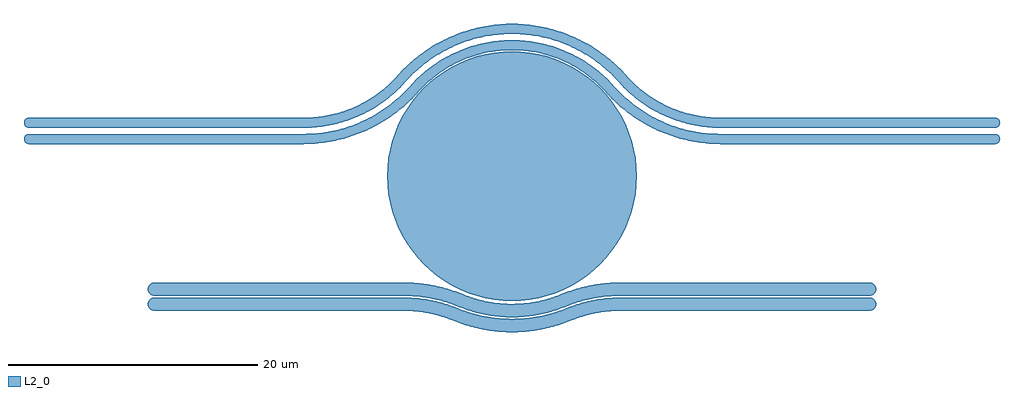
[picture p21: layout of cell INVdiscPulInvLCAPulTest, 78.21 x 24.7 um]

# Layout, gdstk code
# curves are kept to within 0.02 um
import gdstk
lib = gdstk.Library(unit=1e-6, precision=1e-09)
def P(c, l, *ps):  # polygons
    for p in ps: c.add(gdstk.Polygon(p, *l))
L2_0 = (2, 0)

invdiscpulinvlcapultest = lib.new_cell('INVdiscPulInvLCAPulTest')
P(invdiscpulinvlcapultest, L2_0, [(10,10),(9.287,10.025),(8.577,10.102),(7.874,10.229),(7.183,10.405),(6.505,10.631),(5.846,10.904),(5.208,11.223),(4.594,11.587),(4.007,11.995),(3.451,12.443),(2.929,12.929),(2.443,13.451),(1.995,14.007),(1.587,14.594),(1.223,15.208),(0.904,15.846),(0.631,16.505),(0.405,17.183),(0.229,17.874),(0.102,18.577),(0.025,19.287),(0,20),(0.025,20.713),(0.102,21.423),(0.229,22.126),(0.405,22.817),(0.631,23.495),(0.904,24.154),(1.223,24.792),(1.587,25.406),(1.995,25.993),(2.443,26.549),(2.929,27.071),(3.451,27.557),(4.007,28.005),(4.594,28.413),(5.208,28.777),(5.846,29.096),(6.505,29.369),(7.183,29.595),(7.874,29.771),(8.577,29.898),(9.287,29.975),(10,30),(10.713,29.975),(11.423,29.898),(12.126,29.771),(12.817,29.595),(13.495,29.369),(14.154,29.096),(14.792,28.777),(15.406,28.413),(15.993,28.005),(16.549,27.557),(17.071,27.071),(17.557,26.549),(18.005,25.993),(18.413,25.406),(18.777,24.792),(19.096,24.154),(19.369,23.495),(19.595,22.817),(19.771,22.126),(19.898,21.423),(19.975,20.713),(20,20),(19.975,19.287),(19.898,18.577),(19.771,17.874),(19.595,17.183),(19.369,16.505),(19.096,15.846),(18.777,15.208),(18.413,14.594),(18.005,14.007),(17.557,13.451),(17.071,12.929),(16.549,12.443),(15.993,11.995),(15.406,11.587),(14.792,11.223),(14.154,10.904),(13.495,10.631),(12.817,10.405),(12.126,10.229),(11.423,10.102),(10.713,10.025)],
  [(-28.704,22.574),(-28.704,23.374),(-6.485,23.376),(-5.391,23.45),(-4.309,23.628),(-3.249,23.91),(-2.222,24.292),(-1.236,24.771),(-0.483,25.221),(0.233,25.728),(0.908,26.288),(1.385,26.741),(2.415,27.828),(3.039,28.388),(3.877,29.018),(4.957,29.663),(6.103,30.18),(7.302,30.561),(8.536,30.801),(9.79,30.898),(11.047,30.85),(11.878,30.737),(12.495,30.611),(13.7,30.253),(14.857,29.758),(15.772,29.247),(16.798,28.52),(17.585,27.828),(18.615,26.741),(19.092,26.288),(19.767,25.728),(20.483,25.221),(21.429,24.668),(22.424,24.208),(23.459,23.845),(24.524,23.584),(25.609,23.427),(26.704,23.374),(48.704,23.374),(48.704,22.574),(26.704,22.574),(25.532,22.63),(24.602,22.756),(23.457,23.014),(22.342,23.38),(21.268,23.852),(20.244,24.425),(19.467,24.952),(18.557,25.692),(18.047,26.178),(17.029,27.253),(16.299,27.895),(15.348,28.568),(14.5,29.042),(13.429,29.5),(12.688,29.736),(12.122,29.875),(10.97,30.053),(9.806,30.098),(8.644,30.009),(7.5,29.786),(6.389,29.433),(5.327,28.954),(4.488,28.463),(3.701,27.895),(2.971,27.253),(1.953,26.178),(1.443,25.692),(0.533,24.952),(-0.244,24.425),(-1.268,23.852),(-2.342,23.38),(-3.457,23.014),(-4.371,22.799),(-5.532,22.63),(-6.469,22.576)],
  [(-28.704,23.874),(-28.704,24.674),(-6.704,24.674),(-5.54,24.741),(-4.582,24.899),(-3.643,25.149),(-2.733,25.487),(-2.031,25.82),(-1.192,26.31),(-0.558,26.759),(0.04,27.256),(0.463,27.657),(1.51,28.761),(2.391,29.536),(3.342,30.223),(3.943,30.59),(4.564,30.922),(5.858,31.476),(7.208,31.876),(8.362,32.09),(9.062,32.164),(9.765,32.198),(10.469,32.191),(11.172,32.144),(11.871,32.056),(12.563,31.928),(13.247,31.76),(14.142,31.476),(15.436,30.922),(16.057,30.59),(16.658,30.223),(17.609,29.536),(18.49,28.761),(19.537,27.657),(19.96,27.256),(20.558,26.759),(21.192,26.31),(22.031,25.82),(22.912,25.413),(23.829,25.092),(24.773,24.86),(25.734,24.721),(26.704,24.674),(48.704,24.674),(48.704,23.874),(26.704,23.874),(25.657,23.924),(24.826,24.037),(23.803,24.267),(22.807,24.594),(21.847,25.016),(20.932,25.527),(20.071,26.124),(19.425,26.66),(18.969,27.094),(17.933,28.187),(17.11,28.911),(16.036,29.671),(15.079,30.206),(14.482,30.482),(13.663,30.796),(12.395,31.146),(11.095,31.347),(9.781,31.398),(8.469,31.297),(7.178,31.045),(5.924,30.647),(4.921,30.206),(3.964,29.671),(2.89,28.911),(2.067,28.187),(1.031,27.094),(0.575,26.66),(-0.071,26.124),(-0.756,25.64),(-1.66,25.111),(-2.612,24.671),(-3.601,24.325),(-4.62,24.075),(-5.657,23.924),(-6.704,23.874)],
  [(48.704,22.574),(48.704,23.374),(48.86,23.342),(48.987,23.257),(49.073,23.13),(49.104,22.974),(49.073,22.818),(48.987,22.691),(48.86,22.605)],
  [(-28.704,22.574),(-28.86,22.605),(-28.987,22.691),(-29.073,22.818),(-29.104,22.974),(-29.073,23.13),(-28.987,23.257),(-28.86,23.342),(-28.704,23.374)],
  [(48.704,23.874),(48.704,24.674),(48.86,24.642),(48.987,24.557),(49.073,24.43),(49.104,24.274),(49.073,24.118),(48.987,23.991),(48.86,23.905)],
  [(-28.704,23.874),(-28.86,23.905),(-28.987,23.991),(-29.073,24.118),(-29.104,24.274),(-29.073,24.43),(-28.987,24.557),(-28.86,24.642),(-28.704,24.674)],
  [(10,7.5),(8.782,7.559),(8.012,7.659),(7.359,7.782),(6.287,8.064),(4.648,8.664),(3.952,8.874),(3.063,9.066),(2.161,9.179),(1.435,9.211),(-18.656,9.211),(-18.861,9.252),(-19.061,9.402),(-19.158,9.58),(-19.179,9.79),(-19.118,9.986),(-18.99,10.141),(-18.812,10.238),(-18.656,10.261),(1.845,10.25),(2.942,10.148),(4.025,9.939),(4.987,9.658),(6.502,9.097),(7.78,8.767),(8.884,8.604),(10.102,8.55),(11.318,8.626),(12.519,8.83),(13.498,9.097),(15.013,9.658),(15.975,9.939),(17.058,10.148),(18.055,10.245),(38.71,10.258),(38.906,10.198),(39.061,10.07),(39.158,9.892),(39.181,9.736),(39.158,9.58),(39.061,9.402),(38.906,9.275),(38.71,9.214),(18.111,9.197),(17.116,9.095),(16.136,8.897),(15.352,8.664),(13.713,8.064),(12.533,7.759),(11.218,7.559)],
  [(10,8.7),(8.799,8.764),(7.612,8.955),(6.548,9.24),(5.035,9.8),(4.159,10.06),(3.164,10.266),(2.257,10.375),(1.445,10.411),(-18.656,10.411),(-18.861,10.452),(-19.061,10.602),(-19.158,10.78),(-19.179,10.99),(-19.118,11.186),(-18.99,11.341),(-18.812,11.438),(-18.656,11.461),(1.898,11.449),(3.222,11.319),(4.417,11.078),(5.373,10.794),(6.868,10.24),(7.834,9.981),(8.911,9.808),(10.091,9.75),(11.179,9.818),(12.166,9.981),(13.132,10.24),(14.627,10.794),(15.583,11.078),(16.669,11.302),(17.88,11.437),(18.545,11.461),(38.71,11.458),(38.906,11.398),(39.061,11.27),(39.158,11.092),(39.181,10.936),(39.158,10.78),(39.061,10.602),(38.906,10.475),(38.71,10.414),(18.555,10.411),(17.946,10.389),(16.836,10.266),(15.841,10.06),(14.965,9.8),(13.452,9.24),(12.29,8.934),(11.201,8.764)])

lib.write_gds('INVdiscPulInvLCAPulTest.gds')
